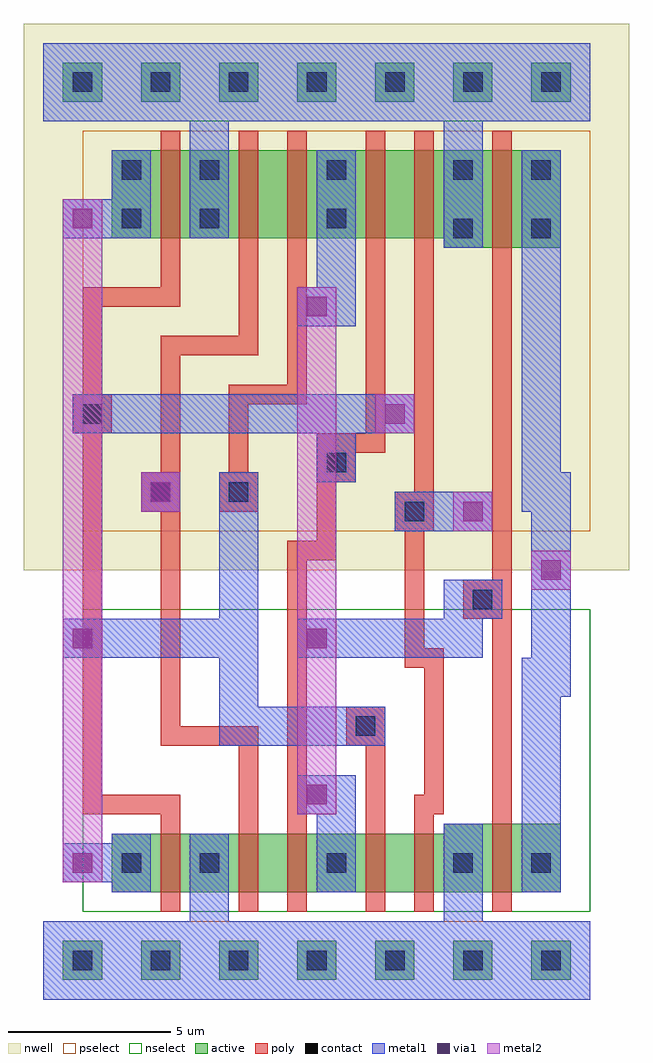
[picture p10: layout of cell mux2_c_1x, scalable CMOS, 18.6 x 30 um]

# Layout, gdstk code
import gdstk
lib = gdstk.Library(unit=1e-6, precision=1e-09)
def R(c, l, rs):  # rectangles x0, y0, x1, y1
    for r in rs: c.add(gdstk.rectangle(r[:2], r[2:], *l))
def A(c, l, x, y, w, h, nx, ny, dx, dy):  # array of equal rectangles
    R(c, l, [(x+i*dx, y+j*dy, x+i*dx+w, y+j*dy+h) for i in range(nx) for j in range(ny)])
def P(c, l, *ps):  # polygons
    for p in ps: c.add(gdstk.Polygon(p, *l))
contact = (25, 0)
nwell = (42, 0)
active = (43, 0)
pselect = (44, 0)
nselect = (45, 0)
poly = (46, 0)
metal1 = (49, 0)
via1 = (50, 0)
metal2 = (51, 0)

mux2_c_1x = lib.new_cell('mux2_c_1x')
A(mux2_c_1x, contact, 9.3, -0.3, 0.6, 0.6, 7, 2, 2.4, 27)
A(mux2_c_1x, contact, 13.2, 2.7, 0.6, 0.6, 3, 2, 3.9, 21.3)
R(mux2_c_1x, contact, [(10.8,2.7,11.4,3.3), (23.4,2.7,24,3.3), (18,6.9,18.6,7.5), (21.6,10.8,22.2,11.4), (19.5,13.5,20.1,14.1), (11.7,14.1,12.3,14.7), (14.1,14.1,14.7,14.7), (17.1,15,17.7,15.6), (9.6,16.5,10.2,17.1), (21,22.2,21.6,22.8), (23.4,22.2,24,22.8), (10.8,22.5,11.4,23.1), (13.2,22.5,13.8,23.1), (17.1,22.5,17.7,23.1), (10.8,24,11.4,24.6), (23.4,24,24,24.6)])
R(mux2_c_1x, nwell, [(7.8,12,26.4,28.8)])
A(mux2_c_1x, active, 9, -0.6, 1.2, 1.2, 7, 2, 2.4, 27)
P(mux2_c_1x, active, [(24.3,24.9),(10.5,24.9),(10.5,22.2),(20.7,22.2),(20.7,21.9),(24.3,21.9)],
  [(24.3,4.2),(20.7,4.2),(20.7,3.9),(10.5,3.9),(10.5,2.1),(24.3,2.1)])
R(mux2_c_1x, pselect, [(8.4,-1.2,25.2,1.2), (9.6,13.2,25.2,25.5)])
R(mux2_c_1x, nselect, [(9.6,1.5,25.2,10.8), (8.4,25.8,25.2,28.2)])
R(mux2_c_1x, poly, [(12,1.5,12.6,5.1), (14.4,1.5,15,7.2), (9.6,4.5,10.2,20.7), (10.2,4.5,12,5.1), (12,6.6,14.4,7.2), (12,6.9,12.6,19.2), (11.4,13.8,12.6,15), (9.3,16.2,10.5,17.4), (12.3,18.6,15,19.2), (14.4,19.2,15,25.5), (10.2,20.1,12,20.7), (12,20.1,12.6,25.5)])
P(mux2_c_1x, poly, [(22.8,25.5),(22.2,25.5),(22.2,11.7),(21.3,11.7),(21.3,10.5),(22.2,10.5),(22.2,1.5),(22.8,1.5)],
  [(20.7,9.6),(20.1,9.6),(20.1,13.2),(20.4,13.2),(20.4,25.5),(19.8,25.5),(19.8,14.4),(19.2,14.4),(19.2,13.2),(19.5,13.2),(19.5,9),(20.1,9),(20.1,5.1),(19.8,5.1),(19.8,1.5),(20.4,1.5),(20.4,4.5),(20.7,4.5)],
  [(18.9,7.8),(17.7,7.8),(17.7,6.6),(18.3,6.6),(18.3,1.5),(18.9,1.5)],
  [(18.9,25.5),(18.3,25.5),(18.3,16.2),(16.8,16.2),(16.8,12.9),(15.9,12.9),(15.9,1.5),(16.5,1.5),(16.5,12.3),(17.4,12.3),(17.4,14.7),(18,14.7),(18,15.6),(18.9,15.6)],
  [(16.5,25.5),(15.9,25.5),(15.9,17.7),(14.1,17.7),(14.1,15),(13.8,15),(13.8,13.8),(15,13.8),(15,15),(14.7,15),(14.7,17.1),(16.5,17.1)])
R(mux2_c_1x, metal1, [(8.4,-1.2,25.2,1.2), (10.5,2.1,11.7,3.9), (9,2.4,10.5,3.6), (9,9.3,15,10.5), (19.2,13.2,22.2,14.4), (11.4,13.8,12.6,15), (16.8,14.7,18,17.4), (9.3,16.2,10.5,17.4), (10.5,16.2,18,17.4), (18,16.2,19.8,17.4), (9,22.2,11.7,23.4), (10.5,22.2,11.7,24.9), (8.4,25.8,25.2,28.2)])
P(mux2_c_1x, metal1, [(25.2,28.2),(8.4,28.2),(8.4,25.8),(12.9,25.8),(12.9,22.2),(14.1,22.2),(14.1,25.8),(20.7,25.8),(20.7,21.9),(21.9,21.9),(21.9,25.8),(25.2,25.8)],
  [(22.5,11.7),(20.7,11.7),(20.7,10.5),(16.2,10.5),(16.2,9.3),(21.9,9.3),(21.9,10.5),(22.5,10.5)],
  [(25.2,1.2),(21.9,1.2),(21.9,4.2),(20.7,4.2),(20.7,1.2),(14.1,1.2),(14.1,3.9),(12.9,3.9),(12.9,1.2),(8.4,1.2),(8.4,-1.2),(25.2,-1.2)],
  [(24.6,15),(24.3,15),(24.3,24.9),(23.1,24.9),(23.1,13.8),(23.4,13.8),(23.4,9.3),(23.1,9.3),(23.1,2.1),(24.3,2.1),(24.3,8.1),(24.6,8.1)],
  [(18.9,7.8),(15,7.8),(15,15),(13.8,15),(13.8,6.6),(18.9,6.6)],
  [(18,5.7),(16.2,5.7),(16.2,4.5),(16.8,4.5),(16.8,2.1),(18,2.1)],
  [(18,24.9),(16.8,24.9),(16.8,20.7),(16.2,20.7),(16.2,19.5),(18,19.5)])
R(mux2_c_1x, via1, [(9.3,2.7,9.9,3.3), (16.5,4.8,17.1,5.4), (9.3,9.6,9.9,10.2), (16.5,9.6,17.1,10.2), (23.7,11.7,24.3,12.3), (21.3,13.5,21.9,14.1), (11.7,14.1,12.3,14.7), (18.9,16.5,19.5,17.1), (16.5,19.8,17.1,20.4), (9.3,22.5,9.9,23.1)])
R(mux2_c_1x, metal2, [(9,2.4,10.2,23.4), (16.2,4.5,17.4,20.7), (23.4,11.4,24.6,12.6), (21,13.2,22.2,14.4), (11.4,13.8,12.6,15), (18.6,16.2,19.8,17.4)])

lib.write_gds('mux2_c_1x.gds')
